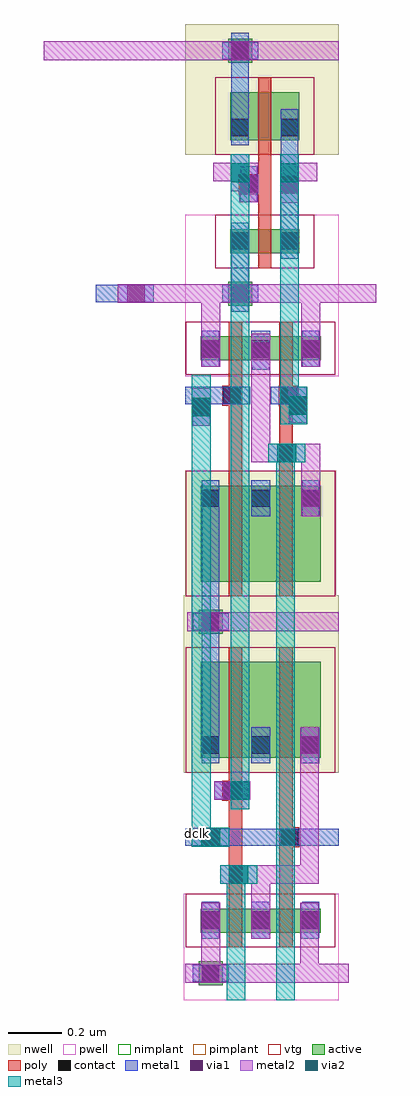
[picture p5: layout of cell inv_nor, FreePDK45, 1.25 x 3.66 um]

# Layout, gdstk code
from math import pi, radians
import gdstk
lib = gdstk.Library(unit=1e-6, precision=5e-10)
def R(c, l, rs):  # rectangles x0, y0, x1, y1
    for r in rs: c.add(gdstk.rectangle(r[:2], r[2:], *l))
active = (1, 0)
pwell = (2, 0)
nwell = (3, 0)
nimplant = (4, 0)
pimplant = (5, 0)
vtg = (6, 0)
poly = (9, 0)
contact = (10, 0)
metal1 = (11, 0)
via1 = (12, 0)
metal2 = (13, 0)
via2 = (14, 0)
metal3 = (15, 0)

dcont_28 = lib.new_cell('dcont_28')
R(dcont_28, active, [(-0.0375,0.03,0.0375,0.105)])
R(dcont_28, contact, [(-0.0325,0.035,0.0325,0.1)])
R(dcont_28, metal1, [(-0.0325,0,0.0325,0.135)])

pmos_vtg_3 = lib.new_cell('pmos_vtg_3')
R(pmos_vtg_3, active, [(-0.105,0,0.155,0.36), (-0.105,0,-0.03,0.36), (0.08,0,0.155,0.36), (-0.105,0.01,-0.03,0.085), (0.08,0.01,0.155,0.085)])
R(pmos_vtg_3, nwell, [(-0.16,-0.055,0.21,0.415)])
R(pmos_vtg_3, pimplant, [(-0.105,0,0.155,0.36)])
R(pmos_vtg_3, vtg, [(-0.16,-0.055,0.21,0.415)])
R(pmos_vtg_3, poly, [(0,-0.055,0.05,0), (0,-0.055,0.05,0.415), (0,0.36,0.05,0.415)])
pmos_vtg_3.add(gdstk.Reference(dcont_28, (0.1175,-0.02)))
pmos_vtg_3.add(gdstk.Reference(dcont_28, (-0.0675,-0.02)))
pmos_vtg_3.add(gdstk.Label('l = 0.05', (0.06,0.18), layer=239, texttype=0))
pmos_vtg_3.add(gdstk.Label('w = 0.36', (0.025,0.425), layer=239, texttype=0))

pcont_0 = lib.new_cell('pcont_0')
R(pcont_0, poly, [(-0.0375,-0.0375,0.0375,0.0375)])
R(pcont_0, contact, [(-0.0325,-0.0325,0.0325,0.0325)])
R(pcont_0, metal1, [(-0.0325,-0.0675,0.0325,0.0675)])

m2_m1_viab = lib.new_cell('M2_M1_viaB')
R(m2_m1_viab, metal1, [(-0.0675,-0.0325,0.0675,0.0325)])
R(m2_m1_viab, via1, [(-0.0325,-0.0325,0.0325,0.0325)])
R(m2_m1_viab, metal2, [(-0.0675,-0.035,0.0675,0.035)])

m2_m1_viac = lib.new_cell('M2_M1_viaC')
R(m2_m1_viac, metal1, [(-0.0325,-0.0675,0.0325,0.0675)])
R(m2_m1_viac, via1, [(-0.0325,-0.0325,0.0325,0.0325)])
R(m2_m1_viac, metal2, [(-0.035,-0.0675,0.035,0.0675)])

m3_m2_viac = lib.new_cell('M3_M2_viaC')
R(m3_m2_viac, metal2, [(-0.07,-0.035,0.07,0.035)])
R(m3_m2_viac, via2, [(-0.035,-0.035,0.035,0.035)])
R(m3_m2_viac, metal3, [(-0.07,-0.035,0.07,0.035)])

nmos_vtg_2 = lib.new_cell('nmos_vtg_2')
R(nmos_vtg_2, active, [(-0.105,0,0.155,0.09), (-0.105,0,-0.03,0.09), (0.08,0,0.155,0.09), (-0.105,0.01,-0.03,0.085), (0.08,0.01,0.155,0.085)])
R(nmos_vtg_2, pwell, [(-0.16,-0.055,0.21,0.145)])
R(nmos_vtg_2, nimplant, [(-0.105,0,0.155,0.09)])
R(nmos_vtg_2, vtg, [(-0.16,-0.055,0.21,0.145)])
R(nmos_vtg_2, poly, [(0,-0.055,0.05,0), (0,-0.055,0.05,0.145), (0,0.09,0.05,0.145)])
nmos_vtg_2.add(gdstk.Reference(dcont_28, (0.1175,-0.02)))
nmos_vtg_2.add(gdstk.Reference(dcont_28, (-0.0675,-0.02)))
nmos_vtg_2.add(gdstk.Label('l = 0.05', (0.06,0.045), layer=239, texttype=0))
nmos_vtg_2.add(gdstk.Label('w = 0.09', (0.025,0.155), layer=239, texttype=0))

ntap_0 = lib.new_cell('NTAP_0')
R(ntap_0, active, [(-0.045,-0.045,0.045,0.045)])
R(ntap_0, nwell, [(-0.1,-0.1,0.1,0.1)])
R(ntap_0, nimplant, [(-0.045,-0.045,0.045,0.045)])
R(ntap_0, contact, [(-0.0325,-0.0325,0.0325,0.0325)])
R(ntap_0, metal1, [(-0.0325,-0.0675,0.0325,0.0675)])

ptap_1 = lib.new_cell('PTAP_1')
R(ptap_1, active, [(-0.045,-0.045,0.045,0.045)])
R(ptap_1, pwell, [(-0.1,-0.1,0.1,0.1)])
R(ptap_1, pimplant, [(-0.045,-0.045,0.045,0.045)])
R(ptap_1, contact, [(-0.0325,-0.0325,0.0325,0.0325)])
R(ptap_1, metal1, [(-0.0325,-0.0675,0.0325,0.0675)])

nor_1 = lib.new_cell('nor_1')
R(nor_1, pwell, [(-0.005,-0.2375,0.575,0.16)])
R(nor_1, nwell, [(-0.005,0.615,0.575,1.28)])
R(nor_1, poly, [(0.1625,0.13,0.2125,0.205), (0.3525,0.13,0.4025,0.205), (0.3525,0.1875,0.4025,0.615), (0.1625,0.19,0.2125,0.615)])
R(nor_1, metal1, [(0,0.34,0.575,0.405), (0.0625,0.7725,0.1275,1.215)])
R(nor_1, metal2, [(0,-0.1725,0.575,-0.1025), (0.06,-0.1725,0.13,0.0025), (0.43,-0.1725,0.5,0.0025), (0.2475,0.09,0.3175,0.2675), (0.2275,0.1975,0.5,0.2675), (0.43,0.1975,0.5,0.7825), (0.0075,1.145,0.575,1.215)])
nor_1.add(gdstk.Reference(pmos_vtg_3, (0.3525,0.67)))
nor_1.add(gdstk.Reference(pmos_vtg_3, (0.1625,0.67)))
nor_1.add(gdstk.Reference(pcont_0, (0.39,0.3725), rotation=pi/2))
nor_1.add(gdstk.Reference(pcont_0, (0.175,0.5475), rotation=pi/2))
nor_1.add(gdstk.Reference(m2_m1_viab, (0.095,1.18)))
nor_1.add(gdstk.Reference(m2_m1_viab, (0.175,0.5475)))
nor_1.add(gdstk.Reference(m2_m1_viab, (0.095,-0.1375)))
nor_1.add(gdstk.Reference(m2_m1_viab, (0.2825,0.06), rotation=pi/2))
nor_1.add(gdstk.Reference(m2_m1_viac, (0.465,0.7175)))
nor_1.add(gdstk.Reference(m2_m1_viac, (0.465,0.06)))
nor_1.add(gdstk.Reference(m2_m1_viac, (0.095,0.06)))
nor_1.add(gdstk.Reference(m3_m2_viac, (0.2,0.2325)))
nor_1.add(gdstk.Reference(m3_m2_viac, (0.205,0.5475), rotation=pi/2))
nor_1.add(gdstk.Reference(nmos_vtg_2, (0.3525,0.015)))
nor_1.add(gdstk.Reference(nmos_vtg_2, (0.1625,0.015)))
nor_1.add(gdstk.Reference(ntap_0, (0.095,1.18)))
nor_1.add(gdstk.Reference(ptap_1, (0.095,-0.1375), rotation=pi/2))
nor_1.add(gdstk.Label('a1', (0.54,0.37), layer=11, texttype=0))
nor_1.add(gdstk.Label('a0', (0.1325,0.5425), layer=13, texttype=0))
nor_1.add(gdstk.Label('VDD', (0.2875,1.1875), layer=13, texttype=0))
nor_1.add(gdstk.Label('z', (0.475,0.4625), layer=13, texttype=0))
nor_1.add(gdstk.Label('VSS', (0.29,-0.14), layer=13, texttype=0))

nor_1_mx = lib.new_cell('nor_1_mx')
R(nor_1_mx, poly, [(0.1625,0.31,0.2125,0.385), (0.3525,0.325,0.4025,0.7), (0.1625,0.35,0.2125,0.7025), (0.1625,0.625,0.2125,0.7)])
R(nor_1_mx, metal1, [(0,0.385,0.1525,0.45), (0.0625,0.8575,0.1275,1.3)])
R(nor_1_mx, metal2, [(0,0,0.575,0.07), (0.06,0,0.13,0.185), (0.435,0,0.505,0.185), (0.2475,0.215,0.3175,0.6675), (0.2475,0.5975,0.505,0.6675), (0.435,0.5975,0.505,0.865), (0.0075,1.23,0.575,1.3)])
nor_1_mx.add(gdstk.Reference(pmos_vtg_3, (0.3525,0.755)))
nor_1_mx.add(gdstk.Reference(pmos_vtg_3, (0.1625,0.755)))
nor_1_mx.add(gdstk.Reference(pcont_0, (0.175,0.4175), rotation=pi/2))
nor_1_mx.add(gdstk.Reference(pcont_0, (0.3875,0.4175), rotation=pi/2))
nor_1_mx.add(gdstk.Reference(m2_m1_viab, (0.4225,0.4525), rotation=pi/2))
nor_1_mx.add(gdstk.Reference(m2_m1_viab, (0.095,1.265)))
nor_1_mx.add(gdstk.Reference(m2_m1_viab, (0.2825,0.2525), rotation=pi/2))
nor_1_mx.add(gdstk.Reference(m2_m1_viac, (0.47,0.8025)))
nor_1_mx.add(gdstk.Reference(m2_m1_viac, (0.095,0.2425)))
nor_1_mx.add(gdstk.Reference(m2_m1_viac, (0.47,0.2425)))
nor_1_mx.add(gdstk.Reference(m3_m2_viac, (0.4225,0.455), rotation=pi/2))
nor_1_mx.add(gdstk.Reference(m3_m2_viac, (0.38,0.6325)))
nor_1_mx.add(gdstk.Reference(nmos_vtg_2, (0.3525,0.195)))
nor_1_mx.add(gdstk.Reference(nmos_vtg_2, (0.1625,0.195)))
nor_1_mx.add(gdstk.Label('a0', (0.385,0.4175), layer=11, texttype=0))

m3_m2_viab = lib.new_cell('M3_M2_viaB')
R(m3_m2_viab, metal2, [(-0.035,-0.07,0.035,0.07)])
R(m3_m2_viab, via2, [(-0.035,-0.035,0.035,0.035)])
R(m3_m2_viab, metal3, [(-0.035,-0.07,0.035,0.07)])

pmos_vtg_1 = lib.new_cell('pmos_vtg_1')
R(pmos_vtg_1, active, [(-0.105,0,0.155,0.18), (-0.105,0,-0.03,0.18), (0.08,0,0.155,0.18), (-0.105,0.01,-0.03,0.085), (0.08,0.01,0.155,0.085)])
R(pmos_vtg_1, nwell, [(-0.16,-0.055,0.21,0.235)])
R(pmos_vtg_1, pimplant, [(-0.105,0,0.155,0.18)])
R(pmos_vtg_1, vtg, [(-0.16,-0.055,0.21,0.235)])
R(pmos_vtg_1, poly, [(0,-0.055,0.05,0), (0,-0.055,0.05,0.235), (0,0.18,0.05,0.235)])
pmos_vtg_1.add(gdstk.Reference(dcont_28, (0.1175,-0.02)))
pmos_vtg_1.add(gdstk.Reference(dcont_28, (-0.0675,-0.02)))
pmos_vtg_1.add(gdstk.Label('l = 0.05', (0.06,0.09), layer=239, texttype=0))
pmos_vtg_1.add(gdstk.Label('w = 0.18', (0.025,0.245), layer=239, texttype=0))

inv_dec = lib.new_cell('inv_dec')
R(inv_dec, pwell, [(-0.1375,-0.055,0.2525,0.34)])
R(inv_dec, nwell, [(-0.1375,0.565,0.2525,1.055)])
R(inv_dec, poly, [(0.03,0.34,0.08,0.5675), (-0.0425,0.42,0.03,0.49)])
R(inv_dec, metal1, [(-0.5775,0.0125,-0.36,0.0775), (-0.07,0.05,-0.005,0.185), (0.115,0.305,0.18,0.6125), (-0.07,0.7225,-0.005,0.9475)])
R(inv_dec, metal2, [(-0.495,0.01,0.4725,0.08), (-0.1375,0.465,0.03,0.535), (0.1125,0.465,0.2525,0.535), (-0.1375,0.92,0.2525,0.99)])
inv_dec.add(gdstk.Reference(pcont_0, (-0.005,0.455)))
inv_dec.add(gdstk.Reference(m2_m1_viab, (-0.0375,0.045)))
inv_dec.add(gdstk.Reference(m2_m1_viab, (-0.0375,0.955)))
inv_dec.add(gdstk.Reference(m2_m1_viac, (0.1475,0.4525)))
inv_dec.add(gdstk.Reference(m2_m1_viac, (-0.005,0.455)))
inv_dec.add(gdstk.Reference(m2_m1_viac, (-0.4275,0.045), rotation=pi/2))
inv_dec.add(gdstk.Reference(pmos_vtg_1, (0.03,0.62)))
inv_dec.add(gdstk.Reference(nmos_vtg_2, (0.03,0.195)))
inv_dec.add(gdstk.Reference(ntap_0, (-0.0375,0.955)))
inv_dec.add(gdstk.Reference(ptap_1, (-0.0375,0.045)))

inv_nor = lib.new_cell('inv_nor')
R(inv_nor, pwell, [(0,0.1475,0.575,0.4375), (0,2.3775,0.575,2.9825)])
R(inv_nor, nwell, [(0,0.8925,0.565,2.0225), (0,3.2075,0.575,3.6975)])
R(inv_nor, metal2, [(0.5375,0.105,0.6125,0.175), (-0.53,3.5625,0.575,3.6325)])
R(inv_nor, metal3, [(0.155,0.04,0.225,0.545), (0.34,0.04,0.41,2.125), (0.025,0.62,0.095,2.3825), (0.17,0.885,0.24,3.1575), (0.355,2.1975,0.425,3.1525)])
inv_nor.add(gdstk.Reference(nor_1, (0,0.2775)))
inv_nor.add(gdstk.Reference(nor_1_mx, (0,2.7225), x_reflection=True))
inv_nor.add(gdstk.Reference(m3_m2_viab, (0.205,3.14)))
inv_nor.add(gdstk.Reference(m3_m2_viab, (0.06,2.2625)))
inv_nor.add(gdstk.Reference(m3_m2_viab, (0.39,3.14)))
inv_nor.add(gdstk.Reference(m2_m1_viac, (0.06,2.26)))
inv_nor.add(gdstk.Reference(m2_m1_viab, (0.095,0.65)))
inv_nor.add(gdstk.Reference(m3_m2_viac, (0.095,0.65)))
inv_nor.add(gdstk.Reference(inv_dec, (0.2425,2.6425)))
inv_nor.add(gdstk.Label('dclk', (0.0475,0.6625), layer=15, texttype=0))

lib.write_gds('inv_nor.gds')
